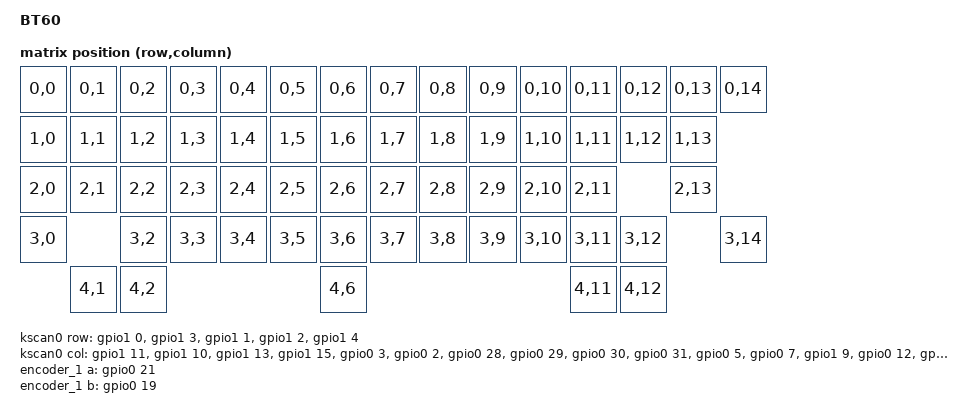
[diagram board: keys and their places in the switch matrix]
/*
 * Copyright (c) 2021 Polarity Works
 *
 * SPDX-License-Identifier: MIT
 */

/dts-v1/;
#include <nordic/nrf52840_qiaa.dtsi>

#include <dt-bindings/led/led.h>
#include <dt-bindings/zmk/matrix_transform.h>
#include "bt60-pinctrl.dtsi"

/ {
  model = "BT60";
  compatible = "polarityworks,bt60v2";

  chosen {
    zephyr,code-partition = &code_partition;
    zephyr,sram = &sram0;
    zephyr,flash = &flash0;
    zmk,kscan = &kscan0;
    zmk,underglow = &led_strip;
    zmk,backlight = &backlight;
    zmk,matrix_transform = &hhkb_transform;
    zmk,battery = &vbatt;
  };

  sensors {
    compatible = "zmk,keymap-sensors";
    sensors = <&encoder_1>;
    triggers-per-rotation = <20>;
  };

  hhkb_transform: keymap_transform_0 {
    compatible = "zmk,matrix-transform";
    columns = <15>;
    rows = <4>;
    map = <
      RC(0,0) RC(0,1) RC(0,2) RC(0,3) RC(0,4) RC(0,5) RC(0,6) RC(0,7) RC(0,8) RC(0,9) RC(0,10) RC(0,11) RC(0,12) RC(0,13) RC(0,14)
      RC(1,0) RC(1,1) RC(1,2) RC(1,3) RC(1,4) RC(1,5) RC(1,6) RC(1,7) RC(1,8) RC(1,9) RC(1,10) RC(1,11) RC(1,12) RC(1,13)
      RC(2,0) RC(2,1) RC(2,2) RC(2,3) RC(2,4) RC(2,5) RC(2,6) RC(2,7) RC(2,8) RC(2,9) RC(2,10) RC(2,11)          RC(2,13)
      RC(3,0)         RC(3,2) RC(3,3) RC(3,4) RC(3,5) RC(3,6) RC(3,7) RC(3,8) RC(3,9) RC(3,10) RC(3,11) RC(3,12)          RC(3,14)
              RC(4,1) RC(4,2)                         RC(4,6)                                  RC(4,11) RC(4,12)
    >;
  };

  kscan0: kscan_0 {
    compatible = "zmk,kscan-gpio-matrix";
    wakeup-source;

    diode-direction = "col2row";
    col-gpios
      = <&gpio1 11 GPIO_ACTIVE_HIGH>
      , <&gpio1 10 GPIO_ACTIVE_HIGH>
      , <&gpio1 13 GPIO_ACTIVE_HIGH>
      , <&gpio1 15 GPIO_ACTIVE_HIGH>
      , <&gpio0 3 GPIO_ACTIVE_HIGH>
      , <&gpio0 2 GPIO_ACTIVE_HIGH>
      , <&gpio0 28 GPIO_ACTIVE_HIGH>
      , <&gpio0 29 GPIO_ACTIVE_HIGH>
      , <&gpio0 30 GPIO_ACTIVE_HIGH>
      , <&gpio0 31 GPIO_ACTIVE_HIGH>
      , <&gpio0 5 GPIO_ACTIVE_HIGH>
      , <&gpio0 7 GPIO_ACTIVE_HIGH>
      , <&gpio1 9 GPIO_ACTIVE_HIGH>
      , <&gpio0 12 GPIO_ACTIVE_HIGH>
      , <&gpio0 23 GPIO_ACTIVE_HIGH>
      ;

    row-gpios
      = <&gpio1 0 (GPIO_ACTIVE_HIGH | GPIO_PULL_DOWN)>
      , <&gpio1 3 (GPIO_ACTIVE_HIGH | GPIO_PULL_DOWN)>
      , <&gpio1 1 (GPIO_ACTIVE_HIGH | GPIO_PULL_DOWN)>
      , <&gpio1 2 (GPIO_ACTIVE_HIGH | GPIO_PULL_DOWN)>
      , <&gpio1 4 (GPIO_ACTIVE_HIGH | GPIO_PULL_DOWN)>
      ;
  };

  // Node name must match original "EXT_POWER" label to preserve user settings.
  EXT_POWER {
    compatible = "zmk,ext-power-generic";
    control-gpios = <&gpio0 13 GPIO_ACTIVE_HIGH>;
  };

  encoder_1: encoder_1 {
    compatible = "alps,ec11";
    a-gpios = <&gpio0 21 (GPIO_ACTIVE_HIGH | GPIO_PULL_UP)>;
    b-gpios = <&gpio0 19 (GPIO_ACTIVE_HIGH | GPIO_PULL_UP)>;
    steps = <36>;
    status = "disabled";
  };

  backlight: pwmleds {
    compatible = "pwm-leds";
    pwm_led_0 {
      pwms = <&pwm0 0 10000 PWM_POLARITY_NORMAL>;
    };
  };

  leds {
    compatible = "gpio-leds";
    blue_led: led_0 {
      gpios = <&gpio0 15 GPIO_ACTIVE_HIGH>;
    };
    /* it seems getting better for kscan debounce */
    unused_pins {
      gpios
        = <&gpio0 22 GPIO_ACTIVE_HIGH> /* unused row */
        , <&gpio0 26 GPIO_ACTIVE_HIGH> /* encode_2 a */
        , <&gpio0 6 GPIO_ACTIVE_HIGH> /* encode_2 b */
        , <&gpio0 9 GPIO_ACTIVE_HIGH> /* encode_3 a */
        , <&gpio0 10 GPIO_ACTIVE_HIGH> /* encode_3 b */
        ;
    };
  };

  vbatt: vbatt {
    compatible = "zmk,battery-voltage-divider";
    io-channels = <&adc 2>;
    output-ohms = <100000>;
    full-ohms = <(100000 + 100000)>;
  };
};

&adc {
  status = "okay";
};

&pwm0 {
  status = "okay";
  pinctrl-0 = <&pwm0_default>;
  pinctrl-1 = <&pwm0_sleep>;
  pinctrl-names = "default","sleep";
};

&gpiote {
  status = "okay";
};

&gpio0 {
  status = "okay";
};

&gpio1 {
  status = "okay";
};

zephyr_udc0: &usbd {
  status = "okay";
};


&flash0 {
  /*
   * For more information, see:
   * http://docs.zephyrproject.org/latest/devices/dts/flash_partitions.html
   */
  partitions {
    compatible = "fixed-partitions";
    #address-cells = <1>;
    #size-cells = <1>;

    sd_partition: partition@0 {
      reg = <0x00000000 0x00026000>;
    };
    code_partition: partition@26000 {
      reg = <0x00026000 0x000c6000>;
    };

    /*
     * The flash starting at 0x000ec000 and ending at
     * 0x000f3fff is reserved for use by the application.
     */

    /*
     * Storage partition will be used by FCB/LittleFS/NVS
     * if enabled.
     */
    storage_partition: partition@ec000 {
      reg = <0x000ec000 0x00008000>;
    };

    boot_partition: partition@f4000 {
      reg = <0x000f4000 0x0000c000>;
    };
  };
};

&spi3 {
  compatible = "nordic,nrf-spim";
  pinctrl-0 = <&spi3_default>;
  pinctrl-1 = <&spi3_sleep>;
  pinctrl-names = "default","sleep";
  status = "okay";
  rx-delay-supported;
  rx-delay = < 0x2 >;

  led_strip: ws2812@0 {
    compatible = "worldsemi,ws2812-spi";

    /* SPI */
    reg = <0>; /* ignored, but necessary for SPI bindings */
    spi-max-frequency = <4000000>;

    /* WS2812 */
    chain-length = <12>; /* LED strip length */
    spi-one-frame = <0x70>;
    spi-zero-frame = <0x40>;
    color-mapping = <LED_COLOR_ID_GREEN LED_COLOR_ID_RED LED_COLOR_ID_BLUE>;
  };
};
